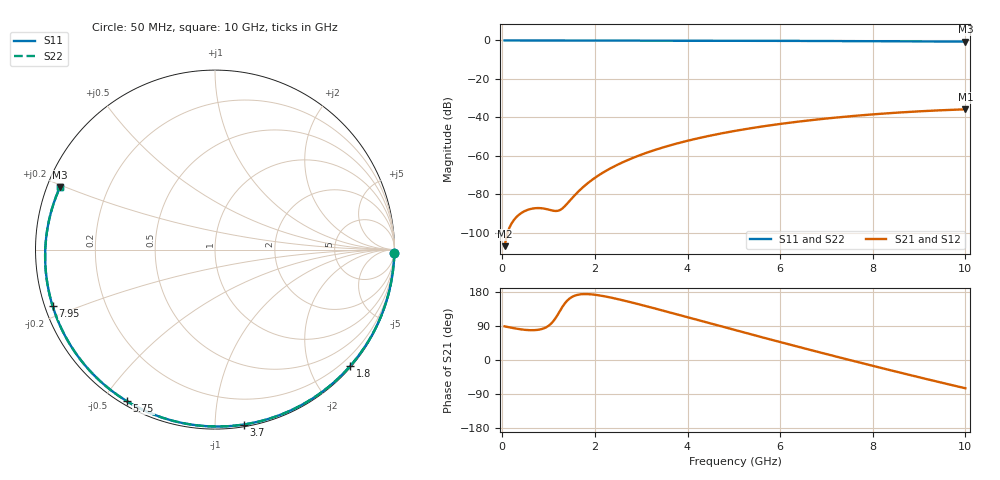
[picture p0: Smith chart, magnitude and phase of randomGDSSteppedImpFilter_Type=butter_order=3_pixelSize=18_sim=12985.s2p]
! freq	dB(S11)	phase(S11)	dB(S12)	phase(S12)
!  dB(S21)	phase(S21)	dB(S22)	phase(S22)
!S-par simulation data
#  GHz  S  DB  R 50
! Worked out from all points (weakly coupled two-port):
!   200 points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, 50 MHz to 10 GHz, reference 50 ohm
!   highest |S21| = -35.82 dB at 10 GHz (marker M1); lowest = -107.0 dB at 50 MHz (marker M2)
!   lowest |S11| = -0.6 dB at 10 GHz (marker M3), VSWR 28.05, Z = 1.85 + j9.65 ohm
!   |S11| at or under -10 dB: nowhere
!   |S22| runs from -0.6 to 0.0 dB; largest |S21 - S12| = 0
!   S11 on the Smith chart (normalised r, x): 50 MHz: open; 1.8 GHz: 0.02, -2.70; 3.7 GHz: 0.01, -1.18; 5.75 GHz: 0.02, -0.58; 7.95 GHz: 0.02, -0.17; 10 GHz: 0.04, +0.19
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0.05  -0.00 -1.1  -106.98 88.7  -106.98 88.7  -0.00 -1.1
0.45  -0.02 -10.3  -89.17 80.1  -89.17 80.1  -0.02 -10.3
0.8  -0.02 -18.3  -87.17 80.2  -87.17 80.2  -0.02 -18.3
1.55  -0.04 -35.2  -80.87 169.1  -80.87 169.1  -0.04 -35.2
1.6  -0.05 -36.3  -79.60 171.2  -79.60 171.2  -0.05 -36.3
1.75  -0.05 -39.6  -76.15 173.9  -76.15 173.9  -0.05 -39.6
1.8  -0.05 -40.7  -75.11 174.0  -75.11 174.0  -0.05 -40.7
2.1  -0.06 -47.3  -69.83 170.4  -69.83 170.4  -0.06 -47.3
2.45  -0.07 -54.8  -65.08 161.9  -65.08 161.9  -0.07 -54.8
2.9  -0.08 -64.3  -60.32 148.6  -60.32 148.6  -0.08 -64.3
3.4  -0.10 -74.6  -56.15 132.6  -56.15 132.6  -0.10 -74.6
3.7  -0.11 -80.7  -54.05 122.8  -54.05 122.8  -0.11 -80.7
4.35  -0.13 -93.6  -50.22 101.3  -50.22 101.3  -0.13 -93.5
5.05  -0.16 -107.0  -46.92 78.2  -46.92 78.2  -0.16 -107.0
5.75  -0.20 -120.1  -44.25 55.4  -44.25 55.4  -0.20 -120.1
6.7  -0.27 -137.6  -41.37 25.0  -41.37 25.0  -0.27 -137.6
7.35  -0.32 -149.6  -39.77 4.7  -39.77 4.7  -0.32 -149.6
7.95  -0.38 -160.8  -38.54 -13.9  -38.54 -13.9  -0.38 -160.8
8.35  -0.42 -168.4  -37.83 -26.1  -37.83 -26.1  -0.42 -168.4
9.2  -0.52 174.9  -36.61 -51.5  -36.61 -51.5  -0.52 174.9
9.6  -0.57 166.7  -36.18 -63.1  -36.18 -63.1  -0.57 166.7
10  -0.62 158.1  -35.82 -74.6  -35.82 -74.6  -0.62 158.1
